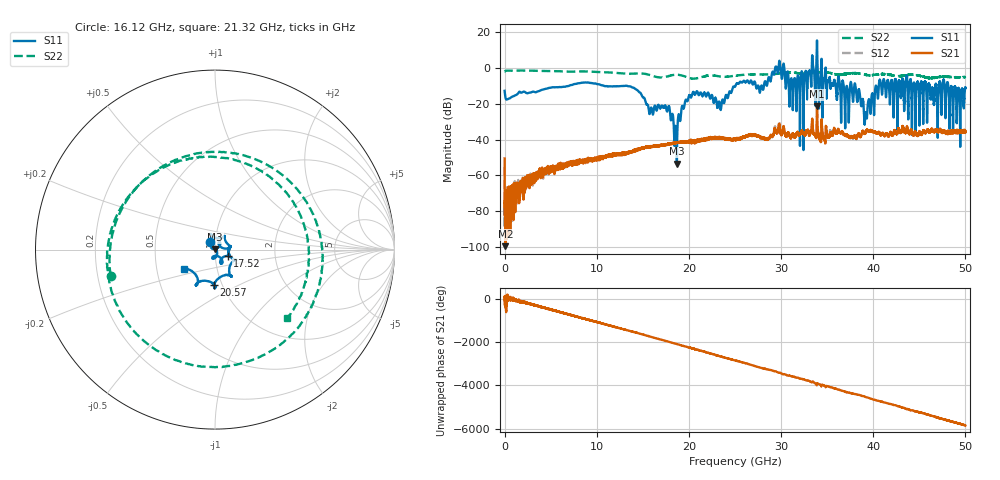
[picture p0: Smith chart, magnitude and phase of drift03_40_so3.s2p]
!Created with skrf (http://scikit-rf.org).
# Hz S RI R 50.0
!freq ReS11 ImS11 ReS21 ImS21 ReS12 ImS12 ReS22 ImS22
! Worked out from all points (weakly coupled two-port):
!   10001 points, 300 kHz to 50 GHz, reference 50 ohm
!   highest |S21| = -21.37 dB at 33.9 GHz (marker M1); lowest = -99.6 dB at 85.3 MHz (marker M2)
!   lowest |S11| = -53.5 dB at 18.7 GHz (marker M3), VSWR 1.00, Z = 50 + j0.211 ohm
!   |S11| at or under -10 dB: start of sweep to 6.947 GHz; 13.32 GHz to 25.05 GHz (11.72 GHz wide, 61.1 % of centre); 38.08 GHz to 40.27 GHz (2.19 GHz wide, 5.59 % of centre) (the widest 3 of 52)
!   |S22| runs from -5.9 to -1.3 dB; largest |S21 - S12| = 0.0086
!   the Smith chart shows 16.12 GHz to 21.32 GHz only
!   S11 on the Smith chart (normalised r, x): 16.12 GHz: 0.94, +0.08; 17.52 GHz: 1.15, -0.08; 20.57 GHz: 0.92, -0.38; 21.32 GHz: 0.69, -0.16
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300000  -0.2082 -0.0998  0.000675 0.00289  -0.000317 0.00166  -0.7631 -0.1924
8.529949e7  -0.1389 0.0609  1.04e-05 -5.82e-07  4.28e-05 -3.22e-05  -0.83 0.1234
1.530291e9  0.203 0.0458  -9.4e-05 -0.000468  -5.88e-05 -0.000405  0.8484 0.0853
3.160281e9  -0.2184 -0.00828  0.000121 0.000896  -3.59e-06 0.00103  -0.8445 -0.025
4.665272e9  0.2632 0.0616  -0.000124 -0.00121  0.000101 -0.00123  0.8187 0.1419
6.360262e9  -0.2999 0.00066  0.000692 0.00205  0.000419 0.00163  -0.8039 -0.0428
8.33525e9  0.2836 -0.2677  -0.00222 -0.000722  -0.00214 -0.000849  0.602 -0.5366
9.575243e9  -0.3715 -0.0483  0.00138 0.00219  0.00146 0.0024  -0.7861 -0.0944
1.124523e10  0.3057 0.0227  -0.00228 -0.00281  -0.00211 -0.0027  0.7571 0.0198
1.61202e10  -0.0303 0.0427  0.00616 0.00185  0.00623 0.00183  -0.5806 -0.1456
1.66702e10  0.0536 0.0756  0.00479 -0.00472  0.00467 -0.00476  -0.3586 0.4185
1.751519e10  0.0697 -0.0349  -0.00621 -0.00409  -0.00581 -0.00405  0.4866 0.2993
1.869519e10  -0.000137 0.00211  0.00249 0.00791  0.00252 0.00779  -0.0875 -0.6495
2.057018e10  -0.0047 -0.1966  -0.00729 -0.00426  -0.00766 -0.00412  0.3699 0.3464
2.131517e10  -0.1717 -0.1086  -0.0049 0.00831  -0.00544 0.00793  0.399 -0.3832
2.500015e10  -0.2964 -0.049  0.00812 0.00654  0.00774 0.00633  -0.1845 -0.5845
3.051012e10  0.2459 -0.1047  -0.0026 0.0127  -0.00261 0.0129  0.7416 -0.0597
3.213011e10  0.2003 0.3738  0.000382 -0.0146  -0.0005 -0.015  -0.6915 0.0112
3.33351e10  0.4715 -0.9967  -0.00575 0.0256  -0.00677 0.0244  0.614 0.3661
3.39001e10  1.821 -5.471  0.0734 0.0436  0.0697 0.0357  0.6736 -0.3223
4.167005e10  -0.2198 0.2878  -0.0117 -0.0045  -0.0113 -0.00485  -0.6557 -0.0531
5e10  -0.1436 -0.248  0.000597 -0.0162  0.000653 -0.0174  0.4693 -0.3171
